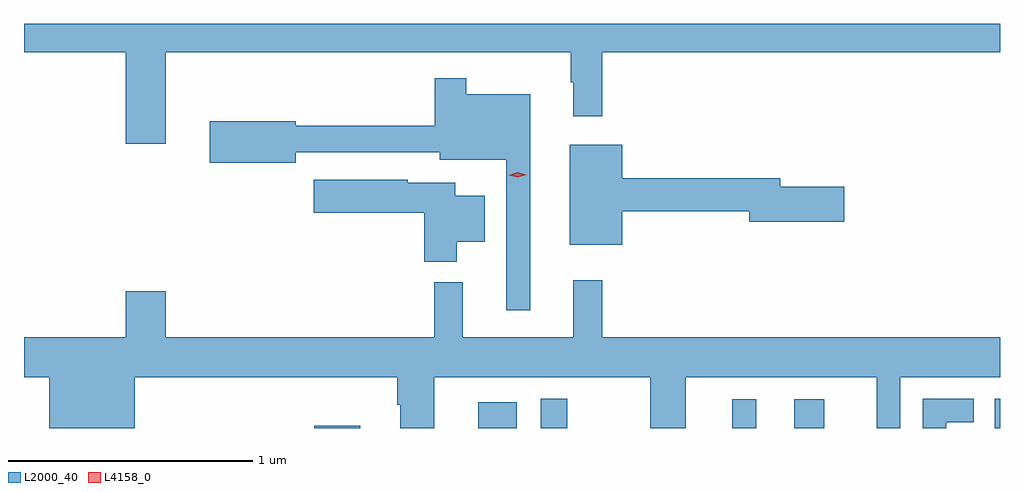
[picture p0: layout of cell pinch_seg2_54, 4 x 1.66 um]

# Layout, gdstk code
import gdstk
lib = gdstk.Library(unit=1e-6, precision=1e-09)
def R(c, l, rs):  # rectangles x0, y0, x1, y1
    for r in rs: c.add(gdstk.rectangle(r[:2], r[2:], *l))
def P(c, l, *ps):  # polygons
    for p in ps: c.add(gdstk.Polygon(p, *l))
L2000_40 = (2000, 40)
L4158_0 = (4158, 0)

pinch_seg2_54 = lib.new_cell('pinch_seg2_54')
R(pinch_seg2_54, L2000_40, [(1064.881,664.744,1065.07,664.753), (1065.554,664.744,1065.712,664.849), (1065.81,664.744,1065.919,664.864), (1066.595,664.744,1066.693,664.861), (1066.848,664.744,1066.972,664.861), (1067.67,664.744,1067.692,664.863)])
P(pinch_seg2_54, L2000_40, [(1064.272,666.284),(1065.933,666.284),(1065.933,666.161),(1065.944,666.161),(1065.944,666.021),(1066.061,666.021),(1066.061,666.284),(1067.692,666.284),(1067.692,666.4),(1063.692,666.4),(1063.692,666.284),(1064.108,666.284),(1064.108,665.91),(1064.272,665.91)],
  [(1065.766,666.112),(1065.505,666.112),(1065.505,666.178),(1065.376,666.178),(1065.376,665.983),(1064.806,665.983),(1064.806,666.001),(1064.454,666.001),(1064.454,665.831),(1064.806,665.831),(1064.806,665.874),(1065.395,665.874),(1065.395,665.843),(1065.669,665.843),(1065.669,665.226),(1065.766,665.226)],
  [(1066.144,665.632),(1066.664,665.632),(1066.664,665.59),(1067.053,665.59),(1067.053,665.732),(1066.792,665.732),(1066.792,665.768),(1066.144,665.768),(1066.144,665.905),(1065.929,665.905),(1065.929,665.495),(1066.144,665.495)],
  [(1065.466,665.507),(1065.58,665.507),(1065.58,665.695),(1065.46,665.695),(1065.46,665.749),(1065.264,665.749),(1065.264,665.761),(1064.88,665.761),(1064.88,665.627),(1065.332,665.627),(1065.332,665.426),(1065.466,665.426)],
  [(1064.146,664.952),(1065.221,664.952),(1065.221,664.84),(1065.233,664.84),(1065.233,664.744),(1065.373,664.744),(1065.373,664.952),(1066.258,664.952),(1066.258,664.744),(1066.405,664.744),(1066.405,664.952),(1067.186,664.952),(1067.186,664.744),(1067.283,664.744),(1067.283,664.952),(1067.692,664.952),(1067.692,665.116),(1066.061,665.116),(1066.061,665.35),(1065.944,665.35),(1065.944,665.116),(1065.491,665.116),(1065.491,665.341),(1065.373,665.341),(1065.373,665.116),(1064.272,665.116),(1064.272,665.305),(1064.108,665.305),(1064.108,665.116),(1063.692,665.116),(1063.692,664.952),(1063.796,664.952),(1063.796,664.744),(1064.146,664.744)],
  [(1067.472,664.767),(1067.585,664.767),(1067.585,664.863),(1067.376,664.863),(1067.376,664.744),(1067.472,664.744)])
P(pinch_seg2_54, L4158_0, [(1065.715,665.772),(1065.679,665.78),(1065.679,665.78),(1065.679,665.781),(1065.714,665.792),(1065.75,665.783),(1065.75,665.783),(1065.75,665.783)])

lib.write_gds('pinch_seg2_54.gds')
